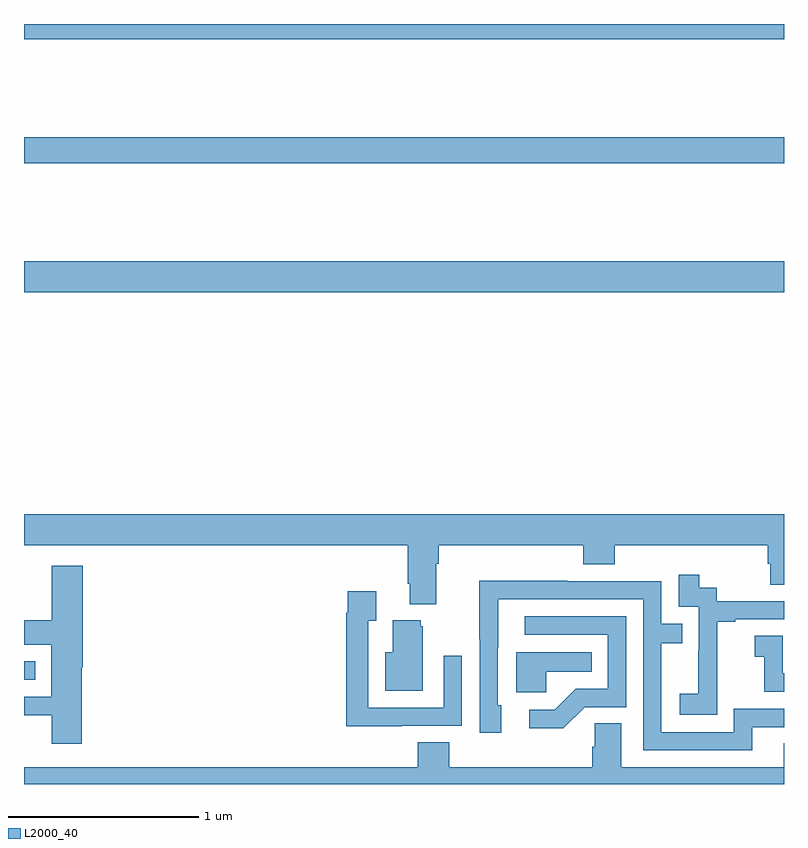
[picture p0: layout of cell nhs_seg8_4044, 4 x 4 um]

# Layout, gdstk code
import gdstk
lib = gdstk.Library(unit=1e-6, precision=1e-09)
def R(c, l, rs):  # rectangles x0, y0, x1, y1
    for r in rs: c.add(gdstk.rectangle(r[:2], r[2:], *l))
def P(c, l, *ps):  # polygons
    for p in ps: c.add(gdstk.Polygon(p, *l))
L2000_40 = (2000, 40)

nhs_seg8_4044 = lib.new_cell('nhs_seg8_4044')
R(nhs_seg8_4044, L2000_40, [(359,1126.449,359.059,1126.545), (359,1128.488,363,1128.652), (359,1129.168,363,1129.304), (359,1129.82,363,1129.9)])
P(nhs_seg8_4044, L2000_40, [(359,1127.156),(361.019,1127.156),(361.019,1126.954),(361.031,1126.954),(361.031,1126.847),(361.171,1126.847),(361.171,1127.06),(361.184,1127.06),(361.184,1127.156),(361.943,1127.156),(361.943,1127.057),(362.108,1127.057),(362.108,1127.156),(362.915,1127.156),(362.915,1127.058),(362.927,1127.058),(362.927,1126.948),(363,1126.948),(363,1127.32),(359,1127.32)],
  [(359.303,1126.515),(359.308,1126.515),(359.308,1127.05),(359.147,1127.05),(359.147,1126.762),(359,1126.762),(359,1126.634),(359.144,1126.634),(359.144,1126.359),(359,1126.359),(359,1126.263),(359.147,1126.263),(359.147,1126.113),(359.303,1126.113)],
  [(362.649,1126.471),(362.648,1126.471),(362.648,1126.755),(362.743,1126.755),(362.743,1126.767),(363,1126.767),(363,1126.863),(362.646,1126.863),(362.646,1126.932),(362.554,1126.932),(362.554,1127.002),(362.445,1127.002),(362.445,1126.833),(362.55,1126.833),(362.55,1126.604),(362.549,1126.604),(362.549,1126.375),(362.451,1126.375),(362.451,1126.265),(362.649,1126.265)],
  [(362.833,1126.2),(363,1126.2),(363,1126.296),(362.736,1126.296),(362.736,1126.173),(362.355,1126.173),(362.355,1126.642),(362.465,1126.642),(362.465,1126.743),(362.355,1126.743),(362.355,1126.968),(361.859,1126.968),(361.859,1126.97),(361.396,1126.97),(361.396,1126.663),(361.398,1126.663),(361.398,1126.17),(361.513,1126.17),(361.513,1126.314),(361.494,1126.314),(361.494,1126.618),(361.495,1126.618),(361.495,1126.872),(362.259,1126.872),(362.259,1126.077),(362.833,1126.077)],
  [(360.989,1126.206),(361.305,1126.206),(361.305,1126.576),(361.209,1126.576),(361.209,1126.302),(360.813,1126.302),(360.813,1126.759),(360.853,1126.759),(360.853,1126.915),(360.705,1126.915),(360.705,1126.802),(360.697,1126.802),(360.697,1126.205),(360.989,1126.205)],
  [(361.95,1126.305),(362.169,1126.305),(362.169,1126.782),(361.635,1126.782),(361.635,1126.686),(362.073,1126.686),(362.073,1126.401),(361.904,1126.401),(361.793,1126.29),(361.659,1126.29),(361.659,1126.193),(361.837,1126.193)],
  [(361.099,1126.731),(361.088,1126.731),(361.088,1126.762),(360.941,1126.762),(360.941,1126.594),(360.902,1126.594),(360.902,1126.391),(361.099,1126.391)],
  [(363,1126.482),(362.994,1126.482),(362.994,1126.681),(362.847,1126.681),(362.847,1126.571),(362.896,1126.571),(362.896,1126.386),(363,1126.386)],
  [(361.749,1126.49),(361.988,1126.49),(361.988,1126.594),(361.592,1126.594),(361.592,1126.382),(361.749,1126.382)],
  [(363,1126.115),(362.999,1126.115),(362.999,1125.988),(362.143,1125.988),(362.143,1126.22),(362.004,1126.22),(362.004,1126.097),(361.991,1126.097),(361.991,1125.988),(361.238,1125.988),(361.238,1126.121),(361.073,1126.121),(361.073,1125.988),(359,1125.988),(359,1125.9),(363,1125.9)])

lib.write_gds('nhs_seg8_4044.gds')
